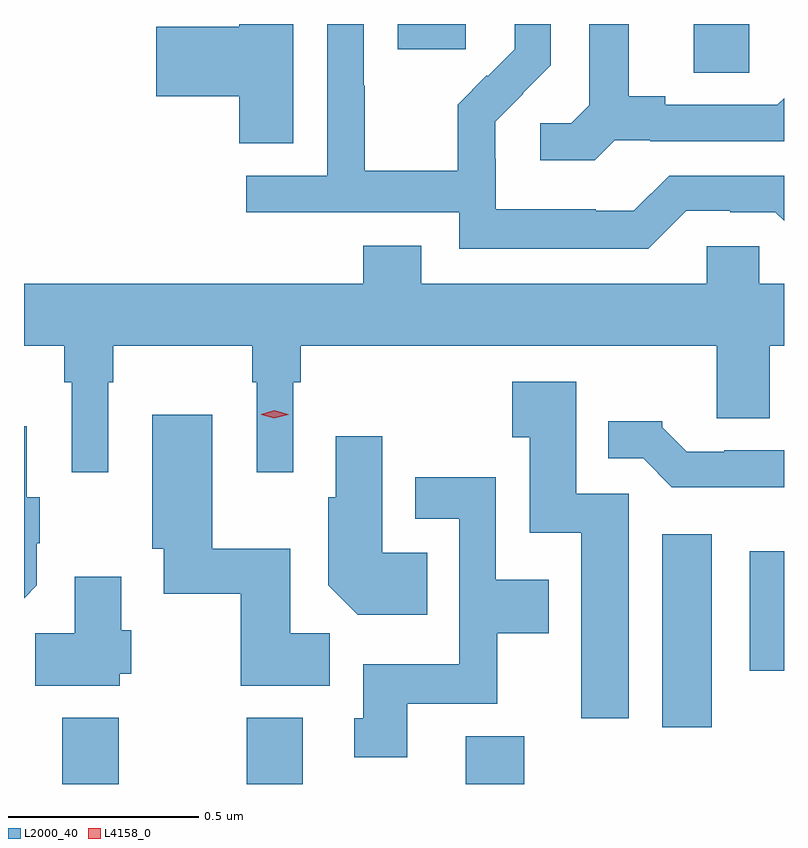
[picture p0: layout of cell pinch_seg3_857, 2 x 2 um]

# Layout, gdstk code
import gdstk
lib = gdstk.Library(unit=1e-6, precision=1e-09)
def R(c, l, rs):  # rectangles x0, y0, x1, y1
    for r in rs: c.add(gdstk.rectangle(r[:2], r[2:], *l))
def P(c, l, *ps):  # polygons
    for p in ps: c.add(gdstk.Polygon(p, *l))
L2000_40 = (2000, 40)
L4158_0 = (4158, 0)

pinch_seg3_857 = lib.new_cell('pinch_seg3_857')
R(pinch_seg3_857, L2000_40, [(749.633,713.083,749.781,713.257), (750.118,713.083,750.265,713.257), (750.695,713.083,750.848,713.209), (751.211,713.232,751.342,713.74), (751.442,713.381,751.532,713.695), (751.295,714.955,751.44,715.083), (750.515,715.017,750.694,715.083)])
P(pinch_seg3_857, L2000_40, [(751.275,714.591),(751.391,714.591),(751.391,714.588),(751.509,714.588),(751.532,714.565),(751.532,714.684),(751.23,714.684),(751.137,714.591),(751.037,714.591),(751.037,714.595),(750.774,714.595),(750.774,714.729),(750.772,714.729),(750.772,714.826),(750.846,714.9),(750.845,714.901),(750.918,714.974),(750.918,715.083),(750.824,715.083),(750.824,715.016),(750.753,714.945),(750.75,714.948),(750.673,714.871),(750.673,714.697),(750.429,714.697),(750.429,714.92),(750.426,714.92),(750.426,715.083),(750.33,715.083),(750.33,714.684),(750.117,714.684),(750.117,714.588),(750.678,714.588),(750.678,714.491),(751.175,714.491)],
  [(751.086,714.777),(751.18,714.777),(751.18,714.774),(751.532,714.774),(751.532,714.888),(751.514,714.87),(751.219,714.87),(751.219,714.893),(751.123,714.893),(751.123,715.083),(751.019,715.083),(751.019,714.869),(750.972,714.822),(750.891,714.822),(750.891,714.725),(751.034,714.725)],
  [(750.241,715.083),(750.098,715.083),(750.098,715.076),(749.88,715.076),(749.88,714.893),(750.098,714.893),(750.098,714.769),(750.241,714.769)],
  [(749.754,714.14),(749.767,714.14),(749.767,714.236),(750.132,714.236),(750.132,714.14),(750.144,714.14),(750.144,713.904),(750.24,713.904),(750.24,714.14),(750.26,714.14),(750.26,714.236),(751.355,714.236),(751.355,714.046),(751.495,714.046),(751.495,714.236),(751.532,714.236),(751.532,714.4),(751.467,714.4),(751.467,714.498),(751.329,714.498),(751.329,714.4),(750.577,714.4),(750.577,714.499),(750.425,714.499),(750.425,714.4),(749.532,714.4),(749.532,714.236),(749.638,714.236),(749.638,714.14),(749.658,714.14),(749.658,713.904),(749.754,713.904)],
  [(751.123,713.847),(750.985,713.847),(750.985,714.142),(750.817,714.142),(750.817,713.995),(750.863,713.995),(750.863,713.744),(750.998,713.744),(750.998,713.256),(751.123,713.256)],
  [(750.337,713.48),(750.232,713.48),(750.232,713.702),(750.028,713.702),(750.028,714.055),(749.87,714.055),(749.87,713.702),(749.9,713.702),(749.9,713.584),(750.103,713.584),(750.103,713.342),(750.337,713.342)],
  [(751.532,713.961),(751.375,713.961),(751.375,713.958),(751.276,713.958),(751.212,714.022),(751.212,714.037),(751.07,714.037),(751.07,713.94),(751.161,713.94),(751.237,713.864),(751.532,713.864)],
  [(749.566,713.606),(749.566,713.716),(749.574,713.716),(749.574,713.838),(749.539,713.838),(749.539,714.025),(749.532,714.025),(749.532,713.572)],
  [(750.593,713.692),(750.475,713.692),(750.475,713.998),(750.353,713.998),(750.353,713.838),(750.332,713.838),(750.332,713.606),(750.41,713.528),(750.593,713.528)],
  [(750.541,713.294),(750.777,713.294),(750.777,713.48),(750.913,713.48),(750.913,713.62),(750.774,713.62),(750.774,713.89),(750.561,713.89),(750.561,713.781),(750.678,713.781),(750.678,713.398),(750.425,713.398),(750.425,713.256),(750.401,713.256),(750.401,713.154),(750.541,713.154)],
  [(749.784,713.373),(749.814,713.373),(749.814,713.487),(749.788,713.487),(749.788,713.629),(749.666,713.629),(749.666,713.48),(749.561,713.48),(749.561,713.342),(749.784,713.342)])
P(pinch_seg3_857, L4158_0, [(750.191,714.046),(750.156,714.055),(750.156,714.056),(750.156,714.056),(750.191,714.066),(750.227,714.056),(750.227,714.056),(750.227,714.055)])

lib.write_gds('pinch_seg3_857.gds')
